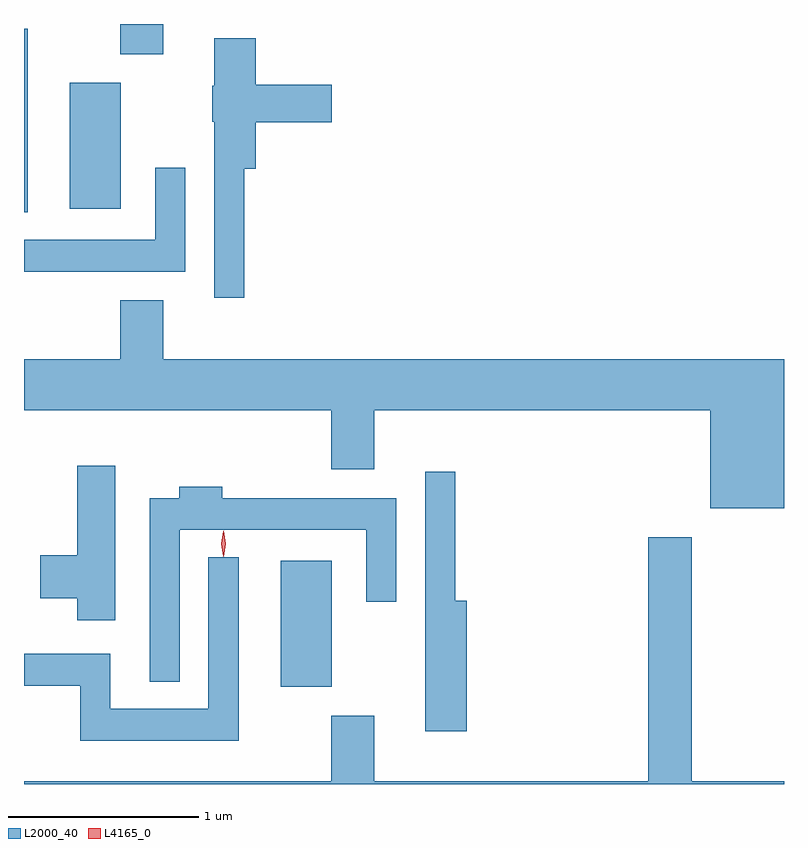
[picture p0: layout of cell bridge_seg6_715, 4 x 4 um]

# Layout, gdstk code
import gdstk
lib = gdstk.Library(unit=1e-6, precision=1e-09)
def R(c, l, rs):  # rectangles x0, y0, x1, y1
    for r in rs: c.add(gdstk.rectangle(r[:2], r[2:], *l))
def P(c, l, *ps):  # polygons
    for p in ps: c.add(gdstk.Polygon(p, *l))
L2000_40 = (2000, 40)
L4165_0 = (4165, 0)

bridge_seg6_715 = lib.new_cell('bridge_seg6_715')
R(bridge_seg6_715, L2000_40, [(550.476,1590.761,550.744,1591.424), (549.125,1593.258,549.144,1594.224), (549.366,1593.276,549.634,1593.939), (549.631,1594.091,549.859,1594.249)])
P(bridge_seg6_715, L2000_40, [(550.284,1593.486),(550.344,1593.486),(550.344,1593.731),(550.744,1593.731),(550.744,1593.929),(550.344,1593.929),(550.344,1594.174),(550.126,1594.174),(550.126,1593.925),(550.116,1593.925),(550.116,1593.735),(550.126,1593.735),(550.126,1592.808),(550.284,1592.808)],
  [(549.974,1593.493),(549.816,1593.493),(549.816,1593.114),(549.125,1593.114),(549.125,1592.946),(549.974,1592.946)],
  [(553.125,1592.484),(549.859,1592.484),(549.859,1592.794),(549.631,1592.794),(549.631,1592.484),(549.125,1592.484),(549.125,1592.216),(550.741,1592.216),(550.741,1591.906),(550.969,1591.906),(550.969,1592.216),(552.736,1592.216),(552.736,1591.701),(553.125,1591.701)],
  [(549.604,1591.924),(549.406,1591.924),(549.406,1591.454),(549.211,1591.454),(549.211,1591.226),(549.406,1591.226),(549.406,1591.111),(549.604,1591.111)],
  [(551.454,1591.214),(551.394,1591.214),(551.394,1591.893),(551.236,1591.893),(551.236,1590.526),(551.454,1590.526)],
  [(549.944,1591.586),(550.926,1591.586),(550.926,1591.208),(551.084,1591.208),(551.084,1591.754),(550.169,1591.754),(550.169,1591.814),(549.941,1591.814),(549.941,1591.754),(549.786,1591.754),(549.786,1590.788),(549.944,1590.788)],
  [(553.125,1590.264),(552.639,1590.264),(552.639,1591.549),(552.411,1591.549),(552.411,1590.264),(550.969,1590.264),(550.969,1590.609),(550.741,1590.609),(550.741,1590.264),(549.125,1590.264),(549.125,1590.249),(553.125,1590.249)],
  [(550.254,1591.443),(550.096,1591.443),(550.096,1590.644),(549.579,1590.644),(549.579,1590.934),(549.125,1590.934),(549.125,1590.766),(549.421,1590.766),(549.421,1590.476),(550.254,1590.476)])
P(bridge_seg6_715, L4165_0, [(550.173,1591.447),(550.163,1591.514),(550.173,1591.58),(550.173,1591.58),(550.174,1591.58),(550.183,1591.514),(550.174,1591.447),(550.174,1591.447)],
  [(550.176,1591.444),(550.176,1591.444),(550.166,1591.513),(550.176,1591.582),(550.176,1591.583),(550.177,1591.582),(550.186,1591.513),(550.177,1591.444)])

lib.write_gds('bridge_seg6_715.gds')
